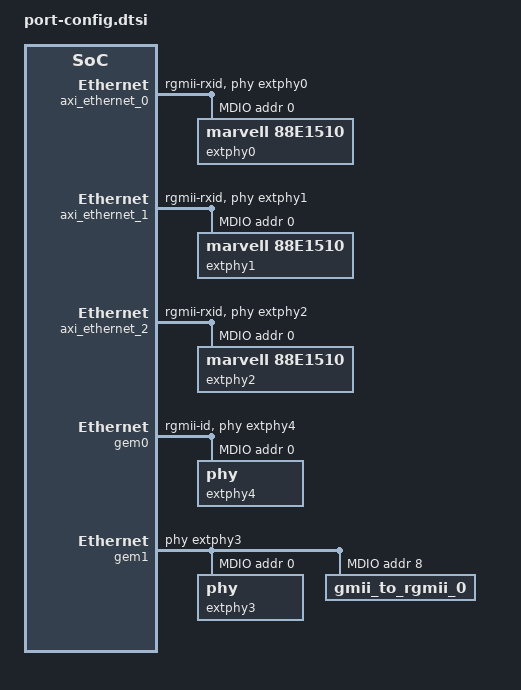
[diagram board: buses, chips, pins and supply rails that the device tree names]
/include/ "system-conf.dtsi"
/ {
};

    &axi_ethernet_0 {  
        local-mac-address = [00 0a 35 00 01 22];  
        phy-handle = <&extphy0>;  
        xlnx,has-mdio = <0x1>;  
        phy-mode = "rgmii-rxid";  
        mdio {  
            #address-cells = <1>;  
            #size-cells = <0>;  
            extphy0: phy@0 {  
                compatible = "marvell,88e1510";  
                device_type = "ethernet-phy";  
                reg = <0>;  
            };  
        };  
    };  
      
    &axi_ethernet_1 {  
        local-mac-address = [00 0a 35 00 01 23];  
        phy-handle = <&extphy1>;  
        xlnx,has-mdio = <0x1>;  
        phy-mode = "rgmii-rxid";  
        mdio {  
            #address-cells = <1>;  
            #size-cells = <0>;  
            extphy1: phy@0 {  
                compatible = "marvell,88e1510";  
                device_type = "ethernet-phy";  
                reg = <0>;  
            };  
        };  
    };  
      
    &axi_ethernet_2 {  
        local-mac-address = [00 0a 35 00 01 24];  
        phy-handle = <&extphy2>;  
        xlnx,has-mdio = <0x1>;  
        phy-mode = "rgmii-rxid";  
        mdio {  
            #address-cells = <1>;  
            #size-cells = <0>;  
            extphy2: phy@0 {  
                compatible = "marvell,88e1510";  
                device_type = "ethernet-phy";  
                reg = <0>;  
            };  
        };  
    };  
      
    &gem0 {
        local-mac-address = [00 0a 35 00 01 26];
        phy-handle = <&extphy4>;
        phy-mode = "rgmii-id";
        status = "okay";
        xlnx,ptp-enet-clock = <0x69f6bcb>;
        xlnx,has-mdio = <0x1>;
        mdio {
                #address-cells = <1>;
                #size-cells = <0>;
                extphy4: phy@0 {
                        /* compatible = "marvell,88e1510"; */
                        device_type = "ethernet-phy";
                        reg = <0>;
                };
        };
    };  
      
    &gem1 {
        local-mac-address = [00 0a 35 00 01 25];
        phy-handle = <&extphy3>;
        status = "okay";
        xlnx,has-mdio = <0x1>;
        mdio {
                #address-cells = <1>;
                #size-cells = <0>;
                extphy3: phy@0 {
                        device_type = "ethernet-phy";
                        reg = <0>;
                };
                gmii_to_rgmii_0: gmii_to_rgmii_0@8 {
                        phy-handle = <&extphy3>;
                        reg = <8>;
                };
        };
    };  
      

